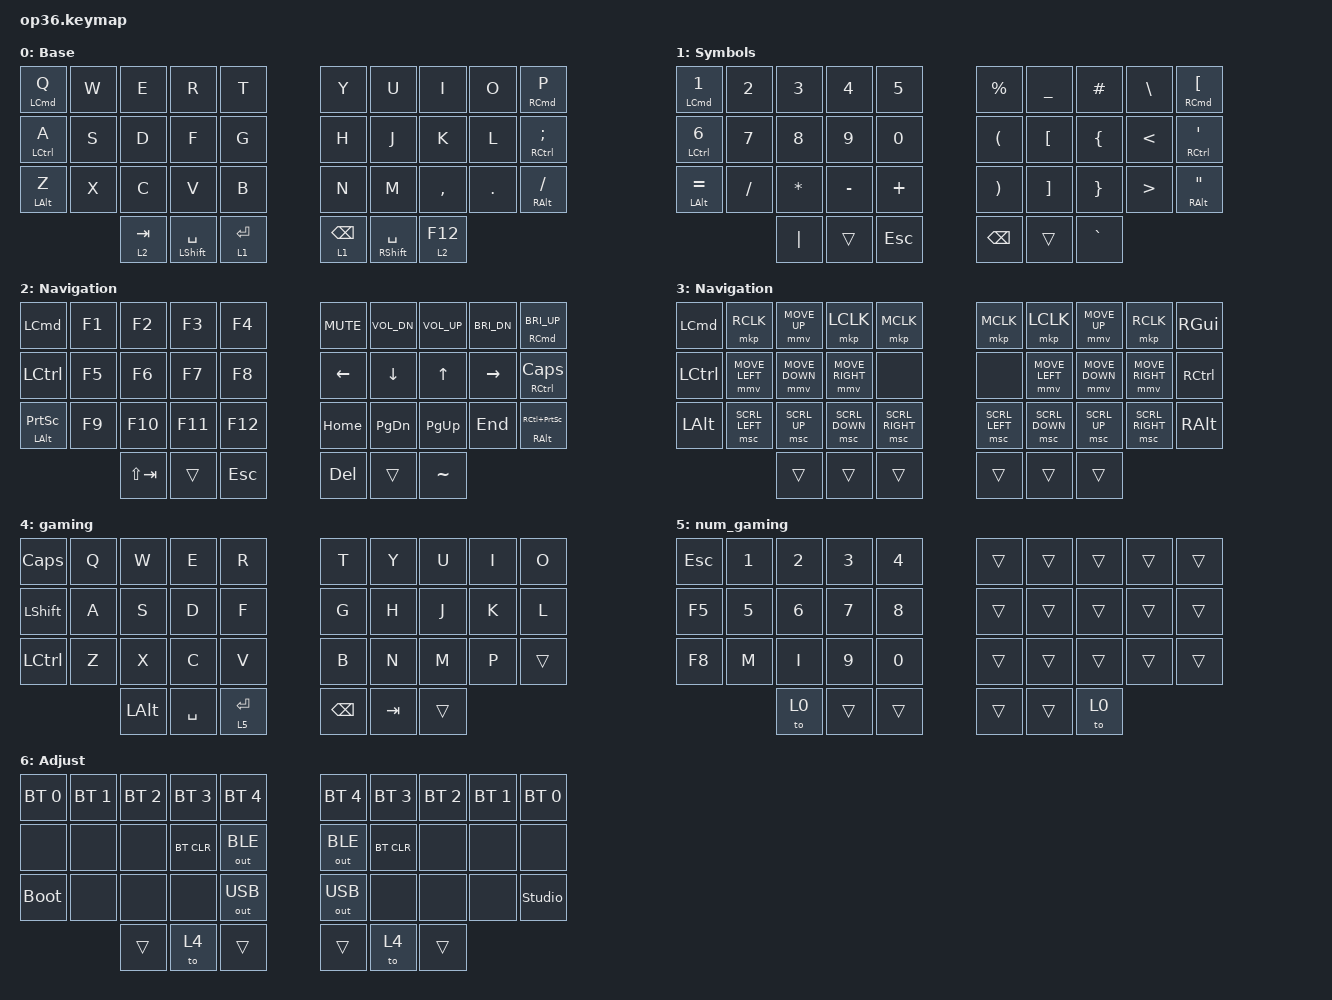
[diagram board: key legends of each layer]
#include "keys_ru.h"
#include "keys_ru.h"
#include <behaviors.dtsi>
#include <dt-bindings/zmk/bt.h>
#include <dt-bindings/zmk/keys.h>
#include <dt-bindings/zmk/outputs.h>
#include <dt-bindings/zmk/pointing.h>

/ {
    behaviors {
        hml: home_row_mod_left {
            compatible = "zmk,behavior-hold-tap";
            #binding-cells = <2>;
            flavor = "balanced";
            tapping-term-ms = <200>;
            bindings = <&kp>, <&kp>;

            hold-trigger-key-positions = <5 6 7 8 9 15 16 17 18 19 25 26 27 28 29 33 34 35 30 31 32>;
            hold-trigger-on-release;
        };

        hmr: home_row_mod_right {
            compatible = "zmk,behavior-hold-tap";
            #binding-cells = <2>;
            flavor = "balanced";
            tapping-term-ms = <200>;
            bindings = <&kp>, <&kp>;

            hold-trigger-key-positions = <0 1 2 3 4 10 11 12 13 14 20 21 22 23 24 30 31 32 33 34 35>;
            hold-trigger-on-release;
        };

        lt_tap: lt_tap {
            compatible = "zmk,behavior-hold-tap";
            label = "LT_TAP";
            bindings = <&mo>, <&kp>;

            #binding-cells = <2>;
            tapping-term-ms = <200>;
            flavor = "tap-preferred";
        };

        lt_hold: lt_hold {
            compatible = "zmk,behavior-hold-tap";
            label = "LT_HOLD";
            bindings = <&mo>, <&kp>;

            #binding-cells = <2>;
            tapping-term-ms = <200>;
            flavor = "hold-preferred";
        };
    };

    combos {
        compatible = "zmk,combos";

        switch {
            bindings = <&kp LG(SPACE)>;
            key-positions = <31 34>;
            layers = <0>;
            timeout-ms = <1000>;
        };

        btl {
            bindings = <&mo 6>;
            key-positions = <30 32>;
            layers = <0>;
        };

        btr {
            bindings = <&mo 6>;
            key-positions = <33 35>;
            layers = <0>;
        };

        mouse {
            bindings = <&mo 3>;
            key-positions = <33 34>;
            layers = <0>;
        };

        caret {
            bindings = <&kp CARET>;
            key-positions = <4 3>;
            layers = <1>;
        };

        dollar {
            bindings = <&kp DOLLAR>;
            key-positions = <13 14>;
            layers = <1>;
        };

        at {
            bindings = <&kp AT>;
            key-positions = <2 1>;
            layers = <1>;
        };

        excl {
            bindings = <&kp EXCL>;
            key-positions = <1 0>;
            layers = <1>;
        };

        amp {
            bindings = <&kp AMPS>;
            key-positions = <2 3>;
            layers = <1>;
        };

        mouse2 {
            bindings = <&mo 3>;
            key-positions = <32 31>;
            layers = <0>;
        };

        esc {
            bindings = <&kp ESCAPE>;
            key-positions = <16 17>;
            layers = <2>;
        };
    };

    keymap {
        compatible = "zmk,keymap";

        en {
            bindings = <
  &hml LCMD Q   &kp W  &kp E  &kp R          &kp T                                                          &kp Y             &kp U          &kp I      &kp O    &hmr RCMD P
  &hml LCTRL A  &kp S  &kp D  &kp F          &kp G                                                          &kp H             &kp J          &kp K      &kp L    &hmr RCTRL SEMI
  &hml LALT Z   &kp X  &kp C  &kp V          &kp B                                                          &kp N             &kp M          &kp COMMA  &kp DOT  &hmr RIGHT_ALT SLASH
                              &lt_tap 2 TAB  &hml LEFT_SHIFT SPACE  &lt_hold 1 RET    &lt_hold 1 BACKSPACE  &hmr RSHFT SPACE  &lt_tap 2 F12
            >;

            display-name = "Base";
        };

        sym_en {
            bindings = <
  &hml LCMD NUMBER_1   &kp N2    &kp N3        &kp N4     &kp N5                                 &kp PERCENT            &kp UNDER         &kp HASH         &kp BACKSLASH  &hmr RCMD LEFT_BRACKET
  &hml LCTRL NUMBER_6  &kp N7    &kp N8        &kp N9     &kp N0                                 &kp LEFT_PARENTHESIS   &kp LEFT_BRACKET  &kp LEFT_BRACE   &kp LESS_THAN  &hmr RCTRL SINGLE_QUOTE
  &hml LEFT_ALT EQUAL  &kp FSLH  &kp ASTERISK  &kp MINUS  &kp PLUS                               &kp RIGHT_PARENTHESIS  &kp RBKT          &kp RIGHT_BRACE  &kp GT         &hmr RIGHT_ALT DOUBLE_QUOTES
                                               &kp PIPE   &trans    &kp ESCAPE    &kp BACKSPACE  &trans                 &kp GRAVE
            >;

            display-name = "Symbols";
        };

        nav {
            bindings = <
  &kp LCMD               &kp F1  &kp F2   &kp F3       &kp F4                             &kp C_MUTE  &kp C_VOL_DN    &kp C_VOLUME_UP  &kp C_BRI_DN  &hmr RCMD C_BRI_UP
  &kp LCTRL              &kp F5  &kp F6   &kp F7       &kp F8                             &kp LEFT    &kp DOWN_ARROW  &kp UP_ARROW     &kp RIGHT     &hmr RCTRL CAPSLOCK
  &hml LALT PRINTSCREEN  &kp F9  &kp F10  &kp F11      &kp F12                            &kp HOME    &kp PG_DN       &kp PG_UP        &kp END       &hmr RIGHT_ALT RC(PRINTSCREEN)
                                          &kp LS(TAB)  &trans   &kp ESCAPE    &kp DELETE  &trans      &kp TILDE
            >;

            display-name = "Navigation";
        };

        mouse {
            display-name = "Navigation";
            bindings = <
  &kp LCMD   &mkp RCLK       &mmv MOVE_UP    &mkp LCLK        &mkp MCLK                          &mkp MCLK       &mkp LCLK       &mmv MOVE_UP    &mkp RCLK        &kp RGUI
  &kp LCTRL  &mmv MOVE_LEFT  &mmv MOVE_DOWN  &mmv MOVE_RIGHT  &none                              &none           &mmv MOVE_LEFT  &mmv MOVE_DOWN  &mmv MOVE_RIGHT  &kp RCTRL
  &kp LALT   &msc SCRL_LEFT  &msc SCRL_UP    &msc SCRL_DOWN   &msc SCRL_RIGHT                    &msc SCRL_LEFT  &msc SCRL_DOWN  &msc SCRL_UP    &msc SCRL_RIGHT  &kp RALT
                                             &trans           &trans           &trans    &trans  &trans          &trans
            >;
        };

        gaming {
            bindings = <
  &kp CAPS   &kp Q  &kp W  &kp E     &kp R                                  &kp T    &kp Y   &kp U  &kp I  &kp O
  &kp LSHFT  &kp A  &kp S  &kp D     &kp F                                  &kp G    &kp H   &kp J  &kp K  &kp L
  &kp LCTRL  &kp Z  &kp X  &kp C     &kp V                                  &kp B    &kp N   &kp M  &kp P  &trans
                           &kp LALT  &kp SPACE  &lt_hold 5 RET    &kp BSPC  &kp TAB  &trans
            >;
        };

        num_gaming {
            bindings = <
  &kp ESC  &kp N1  &kp N2  &kp N3  &kp N4                    &trans  &trans  &trans  &trans  &trans
  &kp F5   &kp N5  &kp N6  &kp N7  &kp N8                    &trans  &trans  &trans  &trans  &trans
  &kp F8   &kp M   &kp I   &kp N9  &kp N0                    &trans  &trans  &trans  &trans  &trans
                           &to 0   &trans  &trans    &trans  &trans  &to 0
            >;
        };

        adj {
            bindings = <
  &bt BT_SEL 0  &bt BT_SEL 1  &bt BT_SEL 2  &bt BT_SEL 3  &bt BT_SEL 4                    &bt BT_SEL 4  &bt BT_SEL 3  &bt BT_SEL 2  &bt BT_SEL 1  &bt BT_SEL 0
  &none         &none         &none         &bt BT_CLR    &out OUT_BLE                    &out OUT_BLE  &bt BT_CLR    &none         &none         &none
  &bootloader   &none         &none         &none         &out OUT_USB                    &out OUT_USB  &none         &none         &none         &studio_unlock
                                            &trans        &to 4         &trans    &trans  &to 4         &trans
            >;

            display-name = "Adjust";
        };
    };
};
